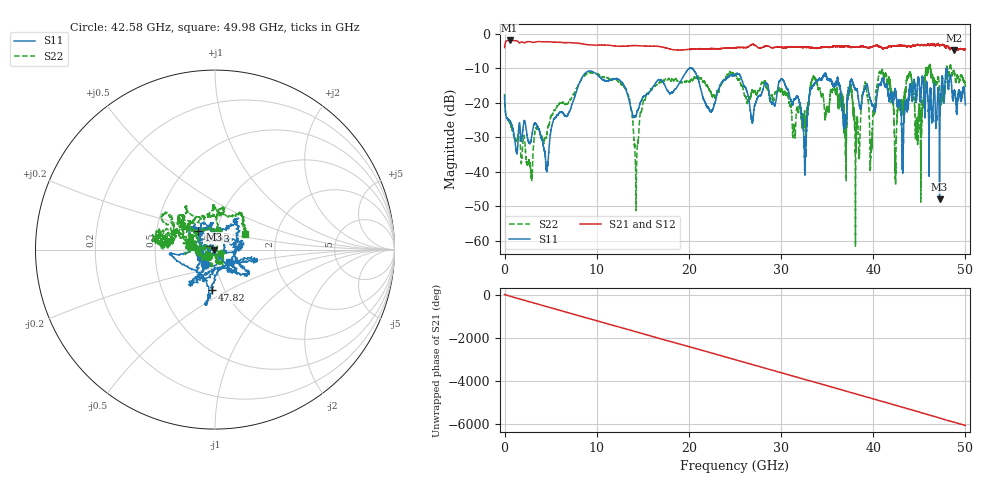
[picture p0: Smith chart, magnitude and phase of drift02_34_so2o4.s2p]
!Created with skrf (http://scikit-rf.org).
# Hz S RI R 50.0
!freq ReS11 ImS11 ReS21 ImS21 ReS12 ImS12 ReS22 ImS22
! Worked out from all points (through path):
!   10001 points, 300 kHz to 50 GHz, reference 50 ohm
!   highest |S21| = -1.99 dB at 540.3 MHz (marker M1); lowest = -4.8 dB at 48.77 GHz (marker M2)
!   group delay of S21, straight-line fit = 337 ps
!   lowest |S11| = -48.0 dB at 47.2 GHz (marker M3), VSWR 1.01, Z = 49.6 + j0.0365 ohm
!   |S11| at or under -10 dB: start of sweep to 20.06 GHz; 20.2085 GHz to 20.22107 GHz (12.57 MHz wide, 0.0622 % of centre); 20.24 GHz to end of sweep (the widest 3 of 5)
!   |S22| runs from -61.6 to -8.9 dB; largest |S21 - S12| = 0.031
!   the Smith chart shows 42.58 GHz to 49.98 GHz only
!   S11 on the Smith chart (normalised r, x): 42.58 GHz: 0.89, -0.14; 43.93 GHz: 0.81, +0.17; 47.82 GHz: 0.87, -0.42; 49.98 GHz: 1.15, -0.16
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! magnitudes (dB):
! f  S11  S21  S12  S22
! 300 kHz  -18.1  -4.1  -4.0  -17.5
! 540.3 MHz  -25.1  -2.0  -2.0  -25.8
! 4.565 GHz  -39.8  -2.4  -2.4  -29.3
! 8.335 GHz  -13.0  -2.9  -2.9  -13.2
! 13.01 GHz  -15.3  -3.7  -3.7  -15.7
! 14.28 GHz  -23.8  -3.5  -3.5  -48.9
! 16.67 GHz  -13.4  -3.7  -3.7  -14.5
! 25 GHz  -12.1  -4.1  -4.1  -12.1
! 32.56 GHz  -39.6  -3.9  -3.9  -23.9
! 33.34 GHz  -15.6  -4.0  -4.0  -13.7
! 37.49 GHz  -14.6  -3.8  -3.9  -15.4
! 38.28 GHz  -16.9  -4.0  -3.9  -24.4
! 41.67 GHz  -18.5  -3.8  -4.0  -12.4
! 42.58 GHz  -20.4  -3.5  -3.5  -25.5
! 43.93 GHz  -16.9  -3.5  -3.6  -11.7
! 44.99 GHz  -14.5  -3.4  -3.3  -21.7
! 45.91 GHz  -18.0  -3.2  -3.1  -11.8
! 47.2 GHz  -48.0  -3.4  -3.5  -16.5
! 47.82 GHz  -12.9  -3.9  -3.9  -15.0
! 48.77 GHz  -16.7  -4.8  -4.8  -10.9
! 49.98 GHz  -19.9  -4.6  -4.5  -14.6
! 50 GHz  -20.6  -4.6  -4.6  -15.1
